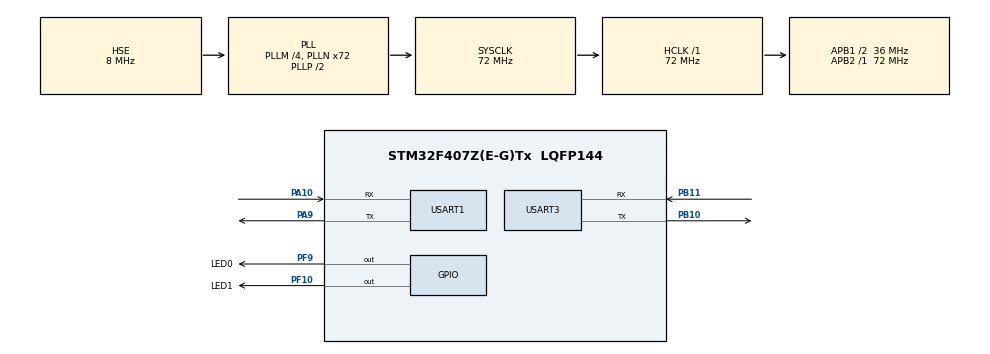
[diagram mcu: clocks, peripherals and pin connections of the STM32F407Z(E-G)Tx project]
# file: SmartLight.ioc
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Mcu.Family=STM32F4
Mcu.Name=STM32F407Z(E-G)Tx
Mcu.Package=LQFP144
NVIC.PriorityGroup=NVIC_PRIORITYGROUP_4
NVIC.TIM1_UP_TIM10_IRQn=true\:0\:0\:false\:false\:true\:true\:true
NVIC.USART1_IRQn=true\:0\:0\:false\:false\:true\:true\:true
NVIC.USART3_IRQn=true\:0\:0\:false\:false\:true\:true\:true
PA10.Mode=Asynchronous
PA10.Signal=USART1_RX
PA13.Mode=Serial_Wire
PA13.Signal=SYS_JTMS-SWDIO
PA14.Mode=Serial_Wire
PA14.Signal=SYS_JTCK-SWCLK
PA9.Mode=Asynchronous
PA9.Signal=USART1_TX
PB10.Mode=Asynchronous
PB10.Signal=USART3_TX
PB11.Mode=Asynchronous
PB11.Signal=USART3_RX
PF10.GPIO_Label=LED1
PF10.GPIO_Speed=GPIO_SPEED_FREQ_VERY_HIGH
PF10.PinState=GPIO_PIN_SET
PF10.Signal=GPIO_Output
PF9.GPIO_Label=LED0
PF9.GPIO_ModeDefaultOutputPP=GPIO_MODE_OUTPUT_PP
PF9.GPIO_Speed=GPIO_SPEED_FREQ_VERY_HIGH
PF9.Signal=GPIO_Output
PH0-OSC_IN.Mode=HSE-External-Oscillator
PH0-OSC_IN.Signal=RCC_OSC_IN
PH1-OSC_OUT.Mode=HSE-External-Oscillator
PH1-OSC_OUT.Signal=RCC_OSC_OUT
ProjectManager.HeapSize=0x200
ProjectManager.StackSize=0x400
ProjectManager.TargetToolchain=MDK-ARM V5
RCC.48MHZClocksFreq_Value=36000000
RCC.AHBFreq_Value=72000000
RCC.APB1CLKDivider=RCC_HCLK_DIV2
RCC.APB1Freq_Value=36000000
RCC.APB1TimFreq_Value=72000000
RCC.APB2Freq_Value=72000000
RCC.APB2TimFreq_Value=72000000
RCC.CortexFreq_Value=72000000
RCC.HCLKFreq_Value=72000000
RCC.HSE_VALUE=8000000
RCC.HSI_VALUE=16000000
RCC.LSE_VALUE=32768
RCC.PLLM=4
RCC.PLLN=72
RCC.PLLSourceVirtual=RCC_PLLSOURCE_HSE
RCC.SYSCLKFreq_VALUE=72000000
RCC.SYSCLKSource=RCC_SYSCLKSOURCE_PLLCLK
RCC.VCOOutputFreq_Value=144000000
TIM1.AutoReloadPreload=TIM_AUTORELOAD_PRELOAD_DISABLE
TIM1.CounterMode=TIM_COUNTERMODE_UP
TIM1.Period=1000-1
TIM1.Prescaler=7200-1
USART1.VirtualMode=VM_ASYNC
USART3.VirtualMode=VM_ASYNC
VP_TIM1_VS_ClockSourceINT.Mode=Internal
board=custom

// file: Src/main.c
/* USER CODE BEGIN Header */
/**
  ******************************************************************************
  * @file           : main.c
  * @brief          : Main program body
  ******************************************************************************
  * @attention
  *
  * <h2><center>&copy; Copyright (c) 2019 STMicroelectronics.
  * All rights reserved.</center></h2>
  *
  * This software component is licensed by ST under BSD 3-Clause license,
  * the "License"; You may not use this file except in compliance with the
  * License. You may obtain a copy of the License at:
  *                        opensource.org/licenses/BSD-3-Clause
  *
  ******************************************************************************
  */
/* USER CODE END Header */

#include "main.h"

/* USER CODE BEGIN Includes */
#include <stdio.h>
#include "EnergyProbe.h"

/* USER CODE END Includes */

TIM_HandleTypeDef htim1;

UART_HandleTypeDef huart1;
UART_HandleTypeDef huart3;

void SystemClock_Config(void);
static void MX_GPIO_Init(void);
static void MX_USART1_UART_Init(void);
static void MX_USART3_UART_Init(void);
static void MX_TIM1_Init(void);

/* USER CODE BEGIN 0 */
#ifdef __GNUC__
  /* With GCC/RAISONANCE, small printf (option LD Linker->Libraries->Small printf
     set to 'Yes') calls __io_putchar() */
  #define PUTCHAR_PROTOTYPE int __io_putchar(int ch)
#else
  #define PUTCHAR_PROTOTYPE int fputc(int ch, FILE *f)
#endif /* __GNUC__ */
/**
  * @brief  Retargets the C library printf function to the USART.
  * @param  None
  * @retval None
  */
PUTCHAR_PROTOTYPE
{
  /* Place your implementation of fputc here */
  /* e.g. write a character to the EVAL_COM1 and Loop until the end of transmission */
  HAL_UART_Transmit(&huart1, (uint8_t *)&ch, 1, 0xFFFF);
  return ch;
}
/* USER CODE END 0 */

int main(void)
{
  /* USER CODE BEGIN 1 */
	uint8_t sendData[] = "Hello World!\n";

  /* USER CODE END 1 */

  /* MCU Configuration--------------------------------------------------------*/

  /* Reset of all peripherals, Initializes the Flash interface and the Systick. */
  HAL_Init();

  /* Configure the system clock */
  SystemClock_Config();

  /* Initialize all configured peripherals */
  MX_GPIO_Init();
  MX_USART1_UART_Init();
  MX_USART3_UART_Init();
  MX_TIM1_Init();
  /* USER CODE BEGIN 2 */

	HAL_UART_Transmit(&huart1,sendData,sizeof(sendData) - 1,0xffff);

	HAL_Delay(300);
	__HAL_UART_ENABLE_IT(&huart3,UART_IT_RXNE);

	HAL_TIM_Base_Start_IT(&htim1);
	//__HAL_TIM_ENABLE(&htim1);

  Export_Function1();

  /* USER CODE END 2 */

  /* Infinite loop */
	while (1)
  {

    /* USER CODE BEGIN 3 */

		Export_Function();

		HAL_Delay(500);

  }
  /* USER CODE END 3 */
}

void SystemClock_Config(void)
{
  RCC_OscInitTypeDef RCC_OscInitStruct = {0};
  RCC_ClkInitTypeDef RCC_ClkInitStruct = {0};

  /** Configure the main internal regulator output voltage
  */
  __HAL_RCC_PWR_CLK_ENABLE();
  __HAL_PWR_VOLTAGESCALING_CONFIG(PWR_REGULATOR_VOLTAGE_SCALE1);
  /** Initializes the CPU, AHB and APB busses clocks
  */
  RCC_OscInitStruct.OscillatorType = RCC_OSCILLATORTYPE_HSE;
  RCC_OscInitStruct.HSEState = RCC_HSE_ON;
  RCC_OscInitStruct.PLL.PLLState = RCC_PLL_ON;
  RCC_OscInitStruct.PLL.PLLSource = RCC_PLLSOURCE_HSE;
  RCC_OscInitStruct.PLL.PLLM = 4;
  RCC_OscInitStruct.PLL.PLLN = 72;
  RCC_OscInitStruct.PLL.PLLP = RCC_PLLP_DIV2;
  RCC_OscInitStruct.PLL.PLLQ = 4;
  if (HAL_RCC_OscConfig(&RCC_OscInitStruct) != HAL_OK)
  {
    Error_Handler();
  }
  /** Initializes the CPU, AHB and APB busses clocks
  */
  RCC_ClkInitStruct.ClockType = RCC_CLOCKTYPE_HCLK|RCC_CLOCKTYPE_SYSCLK
                              |RCC_CLOCKTYPE_PCLK1|RCC_CLOCKTYPE_PCLK2;
  RCC_ClkInitStruct.SYSCLKSource = RCC_SYSCLKSOURCE_PLLCLK;
  RCC_ClkInitStruct.AHBCLKDivider = RCC_SYSCLK_DIV1;
  RCC_ClkInitStruct.APB1CLKDivider = RCC_HCLK_DIV2;
  RCC_ClkInitStruct.APB2CLKDivider = RCC_HCLK_DIV1;

  if (HAL_RCC_ClockConfig(&RCC_ClkInitStruct, FLASH_LATENCY_2) != HAL_OK)
  {
    Error_Handler();
  }
}

static void MX_TIM1_Init(void)
{

  TIM_ClockConfigTypeDef sClockSourceConfig = {0};
  TIM_MasterConfigTypeDef sMasterConfig = {0};

  htim1.Instance = TIM1;
  htim1.Init.Prescaler = 7200-1;
  htim1.Init.CounterMode = TIM_COUNTERMODE_UP;
  htim1.Init.Period = 1000-1;
  htim1.Init.ClockDivision = TIM_CLOCKDIVISION_DIV1;
  htim1.Init.RepetitionCounter = 0;
  htim1.Init.AutoReloadPreload = TIM_AUTORELOAD_PRELOAD_DISABLE;
  if (HAL_TIM_Base_Init(&htim1) != HAL_OK)
  {
    Error_Handler();
  }
  sClockSourceConfig.ClockSource = TIM_CLOCKSOURCE_INTERNAL;
  if (HAL_TIM_ConfigClockSource(&htim1, &sClockSourceConfig) != HAL_OK)
  {
    Error_Handler();
  }
  sMasterConfig.MasterOutputTrigger = TIM_TRGO_RESET;
  sMasterConfig.MasterSlaveMode = TIM_MASTERSLAVEMODE_DISABLE;
  if (HAL_TIMEx_MasterConfigSynchronization(&htim1, &sMasterConfig) != HAL_OK)
  {
    Error_Handler();
  }

}

static void MX_USART1_UART_Init(void)
{

  huart1.Instance = USART1;
  huart1.Init.BaudRate = 115200;
  huart1.Init.WordLength = UART_WORDLENGTH_8B;
  huart1.Init.StopBits = UART_STOPBITS_1;
  huart1.Init.Parity = UART_PARITY_NONE;
  huart1.Init.Mode = UART_MODE_TX_RX;
  huart1.Init.HwFlowCtl = UART_HWCONTROL_NONE;
  huart1.Init.OverSampling = UART_OVERSAMPLING_16;
  if (HAL_UART_Init(&huart1) != HAL_OK)
  {
    Error_Handler();
  }

}

static void MX_USART3_UART_Init(void)
{

  huart3.Instance = USART3;
  huart3.Init.BaudRate = 115200;
  huart3.Init.WordLength = UART_WORDLENGTH_8B;
  huart3.Init.StopBits = UART_STOPBITS_1;
  huart3.Init.Parity = UART_PARITY_NONE;
  huart3.Init.Mode = UART_MODE_TX_RX;
  huart3.Init.HwFlowCtl = UART_HWCONTROL_NONE;
  huart3.Init.OverSampling = UART_OVERSAMPLING_16;
  if (HAL_UART_Init(&huart3) != HAL_OK)
  {
    Error_Handler();
  }

}

static void MX_GPIO_Init(void)
{
  GPIO_InitTypeDef GPIO_InitStruct = {0};

  /* GPIO Ports Clock Enable */
  __HAL_RCC_GPIOF_CLK_ENABLE();
  __HAL_RCC_GPIOH_CLK_ENABLE();
  __HAL_RCC_GPIOB_CLK_ENABLE();
  __HAL_RCC_GPIOA_CLK_ENABLE();

  /*Configure GPIO pin Output Level */
  HAL_GPIO_WritePin(LED0_GPIO_Port, LED0_Pin, GPIO_PIN_RESET);

  /*Configure GPIO pin Output Level */
  HAL_GPIO_WritePin(LED1_GPIO_Port, LED1_Pin, GPIO_PIN_SET);

  /*Configure GPIO pins : LED0_Pin LED1_Pin */
  GPIO_InitStruct.Pin = LED0_Pin|LED1_Pin;
  GPIO_InitStruct.Mode = GPIO_MODE_OUTPUT_PP;
  GPIO_InitStruct.Pull = GPIO_NOPULL;
  GPIO_InitStruct.Speed = GPIO_SPEED_FREQ_VERY_HIGH;
  HAL_GPIO_Init(GPIOF, &GPIO_InitStruct);

}

/* USER CODE BEGIN 4 */
void HAL_UART_RxCpltCallback(UART_HandleTypeDef *huart)
{
	if(huart->Instance == USART1)
	{
		//EnergyProbe_RxCallBack();
	}
}

void HAL_TIM_PeriodElapsedCallback(TIM_HandleTypeDef *htim)
{
	if(htim->Instance == TIM1)
		{
			//HAL_GPIO_TogglePin(LED1_GPIO_Port,LED1_Pin);

		}
}

/* USER CODE END 4 */

void Error_Handler(void)
{
}

/************************ (C) COPYRIGHT STMicroelectronics *****END OF FILE****/
